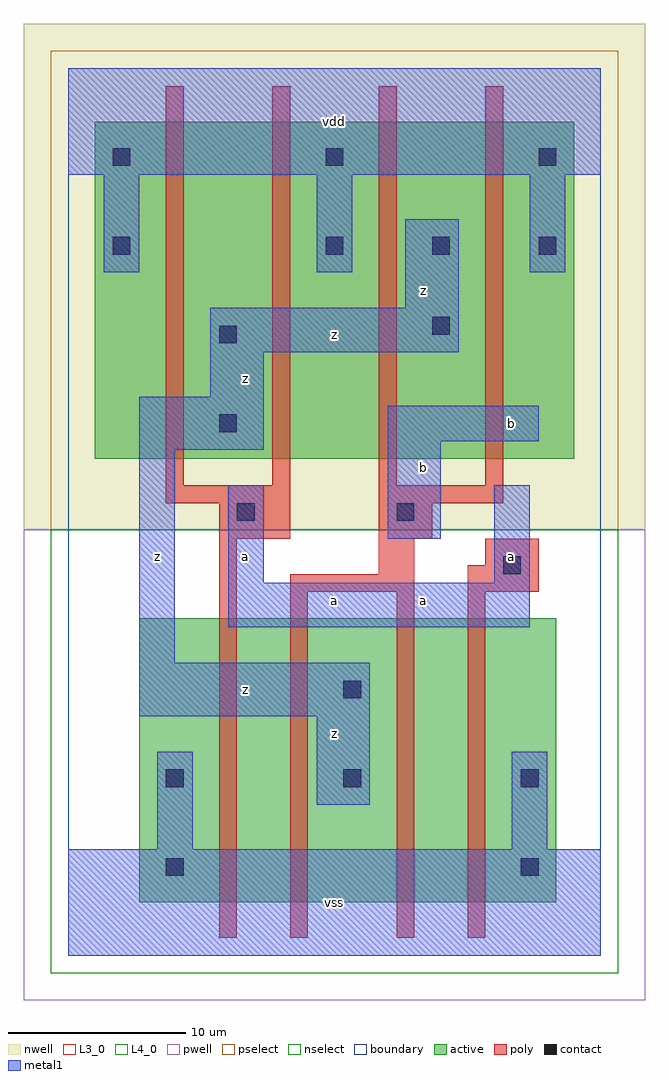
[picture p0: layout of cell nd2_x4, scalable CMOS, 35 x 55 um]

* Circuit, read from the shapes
.subckt nd2_x4 a b vdd vss z
M1 n1 a vss VSUBS nfet w=16u l=1u
M2 z b n1 VSUBS nfet w=16u l=1u
M3 n2 b z VSUBS nfet w=16u l=1u
M4 vss a n2 VSUBS nfet w=16u l=1u
M5 z a vdd n3 pfet w=19u l=1u m=2
M6 z b vdd n3 pfet w=19u l=1u m=2
.ends

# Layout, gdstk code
import gdstk
lib = gdstk.Library(unit=1e-6, precision=1e-09)
def R(c, l, rs):  # rectangles x0, y0, x1, y1
    for r in rs: c.add(gdstk.rectangle(r[:2], r[2:], *l))
def A(c, l, x, y, w, h, nx, ny, dx, dy):  # array of equal rectangles
    R(c, l, [(x+i*dx, y+j*dy, x+i*dx+w, y+j*dy+h) for i in range(nx) for j in range(ny)])
L3_0 = (3, 0)
L4_0 = (4, 0)
contact = (25, 0)
pwell = (41, 0)
nwell = (42, 0)
active = (43, 0)
pselect = (44, 0)
nselect = (45, 0)
poly = (46, 0)
metal1 = (49, 0)
boundary = (63, 0)

nd2_x4 = lib.new_cell('nd2_x4')
R(nd2_x4, L3_0, [(4,3,27.5,19)])
R(nd2_x4, L4_0, [(1.5,28,28.5,47)])
A(nd2_x4, contact, 5.5, 9.5, 1, 1, 3, 1, 10, 0)
A(nd2_x4, contact, 14.5, 39.5, 1, 1, 3, 1, 6, 0)
A(nd2_x4, contact, 2.5, 44.5, 1, 1, 3, 1, 12, 0)
R(nd2_x4, contact, [(5.5,4.5,6.5,5.5), (25.5,4.5,26.5,5.5), (15.5,14.5,16.5,15.5), (24.5,21.5,25.5,22.5), (9.5,24.5,10.5,25.5), (18.5,24.5,19.5,25.5), (8.5,29.5,9.5,30.5), (8.5,34.5,9.5,35.5), (20.5,35,21.5,36), (2.5,39.5,3.5,40.5)])
R(nd2_x4, pwell, [(-2.5,-2.5,32.5,24)])
R(nd2_x4, nwell, [(-2.5,24,32.5,52.5)])
R(nd2_x4, active, [(4,3,27.5,19), (1.5,28,28.5,47)])
R(nd2_x4, pselect, [(-1,24,31,51)])
R(nd2_x4, nselect, [(-1,-1,31,24)])
A(nd2_x4, poly, 5.5, 26.5, 1, 22.5, 4, 1, 6, 0)
R(nd2_x4, poly, [(8.5,1,9.5,23.5), (12.5,1,13.5,20.5), (18.5,1,19.5,20.5), (22.5,1,23.5,20.5), (12.5,20.5,19.5,21.5), (22.5,20.5,26.5,22), (17.5,21.5,19.5,23.5), (23.5,22,26.5,23.5), (8.5,23.5,12.5,25.5), (17.5,23.5,20.5,25.5), (5.5,25.5,12.5,26.5), (17.5,25.5,24.5,26.5)])
R(nd2_x4, metal1, [(0,0,30,6), (0,0,30,6), (5,6,7,11.5), (5,6,7,11.5), (25,6,27,11.5), (25,6,27,11.5), (14,8.5,17,13.5), (14,8.5,17,13.5), (4,13.5,17,16.5), (4,13.5,17,16.5), (4,16.5,6,28.5), (4,16.5,6,28.5), (9,18.5,26,21), (9,18.5,26,21), (9,21,11,26.5), (9,21,11,26.5), (24,21,26,26.5), (24,21,26,26.5), (18,23.5,21,29), (18,23.5,21,29), (4,28.5,11,31.5), (4,28.5,11,31.5), (18,29,26.5,31), (18,29,26.5,31), (8,31.5,11,34), (8,31.5,11,34), (8,34,22,36.5), (8,34,22,36.5), (19,36.5,22,41.5), (19,36.5,22,41.5), (2,38.5,4,44), (2,38.5,4,44), (14,38.5,16,44), (14,38.5,16,44), (26,38.5,28,44), (26,38.5,28,44), (0,44,30,50), (0,44,30,50)])
R(nd2_x4, boundary, [(0,0,30,50)])
nd2_x4.add(gdstk.Label('z', (5,22.5), layer=49, texttype=0))
nd2_x4.add(gdstk.Label('a', (10,22.5), layer=49, texttype=0))
nd2_x4.add(gdstk.Label('z', (10,15), layer=49, texttype=0))
nd2_x4.add(gdstk.Label('z', (10,32.5), layer=49, texttype=0))
nd2_x4.add(gdstk.Label('vss', (15,3), layer=49, texttype=0))
nd2_x4.add(gdstk.Label('z', (15,12.5), layer=49, texttype=0))
nd2_x4.add(gdstk.Label('a', (15,20), layer=49, texttype=0))
nd2_x4.add(gdstk.Label('a', (20,20), layer=49, texttype=0))
nd2_x4.add(gdstk.Label('z', (15,35), layer=49, texttype=0))
nd2_x4.add(gdstk.Label('b', (20,27.5), layer=49, texttype=0))
nd2_x4.add(gdstk.Label('z', (20,37.5), layer=49, texttype=0))
nd2_x4.add(gdstk.Label('vdd', (15,47), layer=49, texttype=0))
nd2_x4.add(gdstk.Label('a', (25,22.5), layer=49, texttype=0))
nd2_x4.add(gdstk.Label('b', (25,30), layer=49, texttype=0))

lib.write_gds('nd2_x4.gds')
